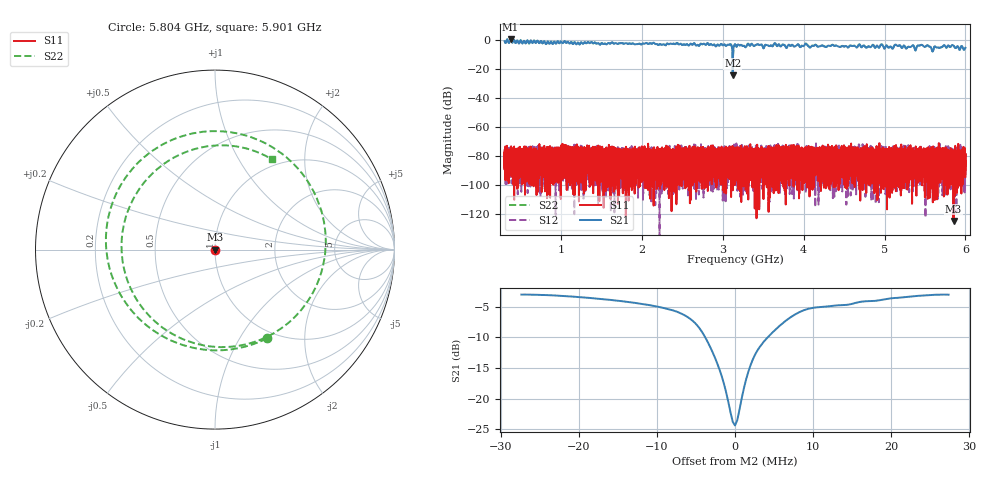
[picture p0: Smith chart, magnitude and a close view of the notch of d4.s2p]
!Agilent Technologies,N5230C,SG49000117,A.08.50.07
!Agilent N5230C: A.08.50.07
!Date: Sunday, March 17, 2024 02:21:40
!Correction: S11(Off)
!S21(Off)
!S12(Off)
!S22(Off)
!S2P File: Measurements: S11, S21, S12, S22:
# Hz S  RI  R 50
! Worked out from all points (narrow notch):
!   20001 points, 300 MHz to 6 GHz, reference 50 ohm
!   highest |S21| = 0.47 dB at 374.1 MHz (marker M1); lowest = -24.3 dB at 3.122 GHz (marker M2)
!   notch at M2: 20.9 dB deep, 4.57 MHz wide at half that depth
!   lowest |S11| = -125.0 dB at 5.853 GHz (marker M3), VSWR 1.00, Z = 50 + j7.15e-06 ohm
!   |S11| at or under -10 dB: start of sweep to end of sweep
!   |S22| runs from -24.3 to 0.5 dB; largest |S21 - S12| = 1.1
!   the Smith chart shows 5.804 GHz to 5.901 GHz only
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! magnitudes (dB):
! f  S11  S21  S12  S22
! 300 MHz  -81.0  -0.9  -77.4  -0.9
! 374.1 MHz  -84.3  0.5  -83.0  0.5
! 1.25 GHz  -85.3  -1.7  -80.8  -1.7
! 2.2 GHz  -77.2  -3.6  -75.6  -3.6
! 3.078 GHz  -79.6  -3.4  -79.9  -3.4
! 3.1 GHz  -85.3  -3.3  -75.0  -3.3
! 3.122 GHz  -98.2  -24.3  -85.0  -24.3
! 3.15 GHz  -80.5  -3.1  -85.6  -3.0
! 3.168 GHz  -83.9  -4.7  -78.2  -4.7
! 3.268 GHz  -85.3  -4.4  -78.5  -4.3
! 3.334 GHz  -85.3  -4.1  -84.4  -4.0
! 3.782 GHz  -78.4  -5.5  -80.7  -5.4
! 4.03 GHz  -84.9  -2.8  -87.3  -2.7
! 4.1 GHz  -78.7  -4.2  -83.5  -4.1
! 5.05 GHz  -83.7  -5.5  -102.3  -5.5
! 5.152 GHz  -80.8  -3.9  -88.4  -3.9
! 5.388 GHz  -82.1  -6.9  -84.9  -6.9
! 5.447 GHz  -83.0  -3.6  -72.5  -3.6
! 5.545 GHz  -84.6  -4.3  -93.0  -4.3
! 5.588 GHz  -95.9  -7.6  -79.0  -7.6
! 5.853 GHz  -125.0  -4.0  -80.2  -4.0
! 6 GHz  -83.8  -5.5  -78.5  -5.6
